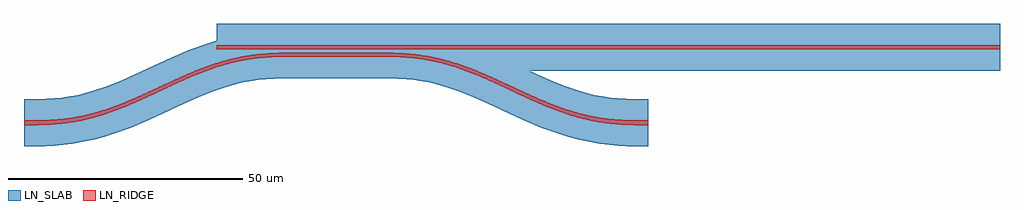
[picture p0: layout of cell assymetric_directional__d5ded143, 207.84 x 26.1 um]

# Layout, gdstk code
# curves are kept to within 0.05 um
from math import pi, radians
import gdstk
lib = gdstk.Library(unit=1e-6, precision=1e-09)
def R(c, l, rs):  # rectangles x0, y0, x1, y1
    for r in rs: c.add(gdstk.rectangle(r[:2], r[2:], *l))
def P(c, l, *ps):  # polygons
    for p in ps: c.add(gdstk.Polygon(p, *l))
LN_RIDGE = (2, 0)
LN_SLAB = (3, 0)

bend_s_spline_varying_w_ = lib.new_cell('bend_S_spline_varying_w_7b4ab9c9')
P(bend_s_spline_varying_w_, LN_RIDGE, [(0.58,-0.401),(0,-0.4),(0,0.4),(5.199,0.5),(9.224,0.872),(12.956,1.556),(16.978,2.677),(19.855,3.703),(23.026,5.006),(32.581,9.414),(36.365,11.058),(40.16,12.484),(43.379,13.459),(46.896,14.242),(50.12,14.696),(53.632,14.938),(58,15),(58,14),(53.092,13.931),(49.072,13.597),(45.056,12.889),(41.035,11.782),(38.445,10.876),(35.272,9.598),(25.122,4.968),(21.625,3.468),(18.12,2.153),(14.901,1.169),(11.679,0.428),(8.457,-0.06),(4.949,-0.33)])
P(bend_s_spline_varying_w_, LN_SLAB, [(0,-5),(0,5),(4.703,5.073),(8.095,5.349),(11.425,5.906),(14.782,6.779),(17.686,7.765),(20.666,8.957),(31.306,13.822),(35.271,15.507),(39.03,16.882),(42.87,17.999),(46.105,18.69),(49.661,19.186),(53.469,19.442),(58,19.5),(58,9.5),(53.297,9.427),(49.905,9.151),(46.575,8.594),(43.218,7.721),(40.314,6.735),(37.334,5.543),(26.694,0.678),(22.729,-1.007),(18.97,-2.382),(15.13,-3.499),(11.895,-4.19),(8.339,-4.686),(4.531,-4.942)])

straight_l16p92_n2_csxs_ = lib.new_cell('straight_L16p92_N2_CSxs_37404e8b')
R(straight_l16p92_n2_csxs_, LN_RIDGE, [(0,-0.4,16.92,0.4)])
R(straight_l16p92_n2_csxs_, LN_SLAB, [(0,-5,16.92,5)])

straight_l132p920000000_ = lib.new_cell('straight_L132p920000000_8f344336')
R(straight_l132p920000000_, LN_RIDGE, [(0,-0.4,132.92,0.4)])
R(straight_l132p920000000_, LN_SLAB, [(0,-5,132.92,5)])

assymetric_directional__ = lib.new_cell('assymetric_directional__d5ded143')
assymetric_directional__.add(gdstk.Reference(bend_s_spline_varying_w_, (-8.46,-0.8), rotation=pi))
assymetric_directional__.add(gdstk.Reference(straight_l16p92_n2_csxs_, (-8.46,0.8), rotation=pi, x_reflection=True))
assymetric_directional__.add(gdstk.Reference(straight_l16p92_n2_csxs_, (-8.46,-0.8)))
assymetric_directional__.add(gdstk.Reference(straight_l16p92_n2_csxs_, (-8.46,0.8)))
assymetric_directional__.add(gdstk.Reference(bend_s_spline_varying_w_, (8.46,-0.8), x_reflection=True))
assymetric_directional__.add(gdstk.Reference(straight_l132p920000000_, (8.46,0.8)))

lib.write_gds('assymetric_directional__d5ded143.gds')
